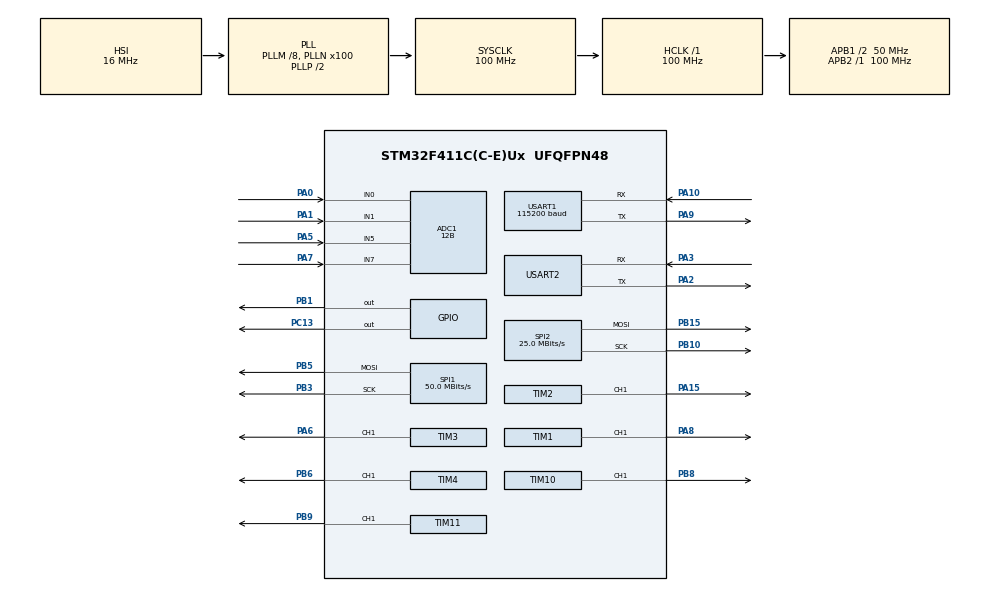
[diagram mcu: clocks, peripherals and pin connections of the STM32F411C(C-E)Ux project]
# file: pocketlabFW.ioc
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ADC1.Channel-0\#ChannelRegularConversion=ADC_CHANNEL_0
ADC1.Channel-1\#ChannelRegularConversion=ADC_CHANNEL_1
ADC1.Channel-2\#ChannelRegularConversion=ADC_CHANNEL_5
ADC1.Channel-3\#ChannelRegularConversion=ADC_CHANNEL_7
ADC1.ContinuousConvMode=DISABLE
ADC1.NbrOfConversion=4
ADC1.NbrOfConversionFlag=1
ADC1.Rank-0\#ChannelRegularConversion=1
ADC1.Rank-1\#ChannelRegularConversion=2
ADC1.Rank-2\#ChannelRegularConversion=3
ADC1.Rank-3\#ChannelRegularConversion=4
ADC1.Resolution=ADC_RESOLUTION_12B
ADC1.SamplingTime-0\#ChannelRegularConversion=ADC_SAMPLETIME_3CYCLES
ADC1.SamplingTime-1\#ChannelRegularConversion=ADC_SAMPLETIME_3CYCLES
ADC1.SamplingTime-2\#ChannelRegularConversion=ADC_SAMPLETIME_3CYCLES
ADC1.SamplingTime-3\#ChannelRegularConversion=ADC_SAMPLETIME_3CYCLES
ADC1.ScanConvMode=ENABLE
ADC1.master=1
Dma.Request0=USART1_RX
Dma.USART1_RX.0.Direction=DMA_PERIPH_TO_MEMORY
Dma.USART1_RX.0.FIFOMode=DMA_FIFOMODE_DISABLE
Dma.USART1_RX.0.Instance=DMA2_Stream2
Dma.USART1_RX.0.MemDataAlignment=DMA_MDATAALIGN_BYTE
Dma.USART1_RX.0.MemInc=DMA_MINC_ENABLE
Dma.USART1_RX.0.Mode=DMA_CIRCULAR
Dma.USART1_RX.0.PeriphDataAlignment=DMA_PDATAALIGN_BYTE
Dma.USART1_RX.0.PeriphInc=DMA_PINC_DISABLE
Dma.USART1_RX.0.Priority=DMA_PRIORITY_VERY_HIGH
Mcu.Family=STM32F4
Mcu.Name=STM32F411C(C-E)Ux
Mcu.Package=UFQFPN48
NVIC.DMA2_Stream2_IRQn=true\:12\:0\:true\:false\:true\:false\:true
NVIC.PriorityGroup=NVIC_PRIORITYGROUP_4
NVIC.USART1_IRQn=true\:0\:0\:false\:false\:true\:true\:true
PA0-WKUP.Signal=ADCx_IN0
PA1.Signal=ADCx_IN1
PA10.Mode=Asynchronous
PA10.Signal=USART1_RX
PA13.Mode=Serial_Wire
PA13.Signal=SYS_JTMS-SWDIO
PA14.Mode=Serial_Wire
PA14.Signal=SYS_JTCK-SWCLK
PA15.Signal=S_TIM2_CH1_ETR
PA2.Mode=Asynchronous
PA2.Signal=USART2_TX
PA3.Mode=Asynchronous
PA3.Signal=USART2_RX
PA5.Signal=ADCx_IN5
PA6.Signal=S_TIM3_CH1
PA7.Signal=ADCx_IN7
PA8.Signal=S_TIM1_CH1
PA9.Mode=Asynchronous
PA9.Signal=USART1_TX
PB1.PinState=GPIO_PIN_SET
PB1.Signal=GPIO_Output
PB10.Mode=TX_Only_Simplex_Unidirect_Master
PB10.Signal=SPI2_SCK
PB15.Mode=TX_Only_Simplex_Unidirect_Master
PB15.Signal=SPI2_MOSI
PB3.Mode=TX_Only_Simplex_Unidirect_Master
PB3.Signal=SPI1_SCK
PB5.Mode=TX_Only_Simplex_Unidirect_Master
PB5.Signal=SPI1_MOSI
PB6.Signal=S_TIM4_CH1
PB8.Signal=S_TIM10_CH1
PB9.Signal=S_TIM11_CH1
PC13-ANTI_TAMP.PinState=GPIO_PIN_SET
PC13-ANTI_TAMP.Signal=GPIO_Output
PH0\ -\ OSC_IN.Mode=HSE-External-Oscillator
PH0\ -\ OSC_IN.Signal=RCC_OSC_IN
PH1\ -\ OSC_OUT.Mode=HSE-External-Oscillator
PH1\ -\ OSC_OUT.Signal=RCC_OSC_OUT
ProjectManager.HeapSize=0x200
ProjectManager.StackSize=0x400
ProjectManager.TargetToolchain=STM32CubeIDE
RCC.48MHZClocksFreq_Value=50000000
RCC.AHBFreq_Value=100000000
RCC.APB1CLKDivider=RCC_HCLK_DIV2
RCC.APB1Freq_Value=50000000
RCC.APB1TimFreq_Value=100000000
RCC.APB2Freq_Value=100000000
RCC.APB2TimFreq_Value=100000000
RCC.CortexFreq_Value=100000000
RCC.HCLKFreq_Value=100000000
RCC.HSE_VALUE=25000000
RCC.HSI_VALUE=16000000
RCC.LSE_VALUE=32768
RCC.PLLM=8
RCC.PLLN=100
RCC.SYSCLKFreq_VALUE=100000000
RCC.SYSCLKSource=RCC_SYSCLKSOURCE_PLLCLK
RCC.VCOOutputFreq_Value=200000000
SH.ADCx_IN0.0=ADC1_IN0,IN0
SH.ADCx_IN1.0=ADC1_IN1,IN1
SH.ADCx_IN5.0=ADC1_IN5,IN5
SH.ADCx_IN7.0=ADC1_IN7,IN7
SH.S_TIM10_CH1.0=TIM10_CH1,PWM Generation1 CH1
SH.S_TIM11_CH1.0=TIM11_CH1,PWM Generation1 CH1
SH.S_TIM1_CH1.0=TIM1_CH1,PWM Generation1 CH1
SH.S_TIM2_CH1_ETR.0=TIM2_CH1,PWM Generation1 CH1
SH.S_TIM3_CH1.0=TIM3_CH1,PWM Generation1 CH1
SH.S_TIM4_CH1.0=TIM4_CH1,PWM Generation1 CH1
SPI1.CalculateBaudRate=50.0 MBits/s
SPI1.DataSize=SPI_DATASIZE_16BIT
SPI1.Direction=SPI_DIRECTION_2LINES
SPI1.Mode=SPI_MODE_MASTER
SPI1.VirtualType=VM_MASTER
SPI2.CalculateBaudRate=25.0 MBits/s
SPI2.DataSize=SPI_DATASIZE_16BIT
SPI2.Direction=SPI_DIRECTION_2LINES
SPI2.Mode=SPI_MODE_MASTER
SPI2.VirtualType=VM_MASTER
TIM1.Channel-PWM\ Generation1\ CH1=TIM_CHANNEL_1
TIM1.Period=100
TIM1.Prescaler=100
TIM1.Pulse-PWM\ Generation1\ CH1=50
TIM10.Channel=TIM_CHANNEL_1
TIM10.Period=100
TIM10.Prescaler=100
TIM10.Pulse=50
TIM11.Channel=TIM_CHANNEL_1
TIM11.Period=100
TIM11.Prescaler=100
TIM2.Channel-PWM\ Generation1\ CH1=TIM_CHANNEL_1
TIM2.Period=100
TIM2.Prescaler=25
TIM2.Pulse-PWM\ Generation1\ CH1=50
TIM3.Channel-PWM\ Generation1\ CH1=TIM_CHANNEL_1
TIM3.Period=100
TIM3.Prescaler=25
TIM3.Pulse-PWM\ Generation1\ CH1=50
TIM4.Channel-PWM\ Generation1\ CH1=TIM_CHANNEL_1
TIM4.Period=100
TIM4.Prescaler=50
USART1.BaudRate=115200
USART1.VirtualMode=VM_ASYNC
USART2.VirtualMode=VM_ASYNC
VP_CRC_VS_CRC.Mode=CRC_Activate
VP_TIM10_VS_ClockSourceINT.Mode=Enable_Timer
VP_TIM11_VS_ClockSourceINT.Mode=Enable_Timer
VP_TIM1_VS_ClockSourceINT.Mode=Internal
VP_TIM2_VS_ClockSourceINT.Mode=Internal
VP_TIM3_VS_ClockSourceINT.Mode=Internal
VP_TIM4_VS_ClockSourceINT.Mode=Internal
board=custom

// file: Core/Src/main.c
/* USER CODE BEGIN Header */
/**
  ******************************************************************************
  * @file           : main.c
  * @brief          : Main program body
  ******************************************************************************
  * @attention
  *
  * <h2><center>&copy; Copyright (c) 2021 STMicroelectronics.
  * All rights reserved.</center></h2>
  *
  * This software component is licensed by ST under BSD 3-Clause license,
  * the "License"; You may not use this file except in compliance with the
  * License. You may obtain a copy of the License at:
  *                        opensource.org/licenses/BSD-3-Clause
  *
  ******************************************************************************
  */
/* USER CODE END Header */
#include "main.h"

/* USER CODE BEGIN Includes */
#include "com.h"
#include "debugger.h"
#include "stdbool.h"
#include "device.h"
#include "string.h"
/* USER CODE END Includes */

ADC_HandleTypeDef hadc1;

CRC_HandleTypeDef hcrc;

SPI_HandleTypeDef hspi1;
SPI_HandleTypeDef hspi2;

TIM_HandleTypeDef htim1;
TIM_HandleTypeDef htim2;
TIM_HandleTypeDef htim3;
TIM_HandleTypeDef htim4;
TIM_HandleTypeDef htim10;
TIM_HandleTypeDef htim11;

UART_HandleTypeDef huart1;
UART_HandleTypeDef huart2;
DMA_HandleTypeDef hdma_usart1_rx;

/* USER CODE BEGIN PV */
char commandBuffer[20];
uint8_t commandState = FREE;
OscilloscopeTypedef oscilloscopeCh1_;
OscilloscopeTypedef oscilloscopeCh2_;
MultimeterTypedef multimeter_;
WaveGeneratorTypedef waveGenerator_;
PWMTypedef pwmGenerator_[5];
/* USER CODE END PV */

void SystemClock_Config(void);
static void MX_GPIO_Init(void);
static void MX_DMA_Init(void);
static void MX_USART1_UART_Init(void);
static void MX_USART2_UART_Init(void);
static void MX_CRC_Init(void);
static void MX_ADC1_Init(void);
static void MX_TIM1_Init(void);
static void MX_TIM2_Init(void);
static void MX_TIM3_Init(void);
static void MX_TIM4_Init(void);
static void MX_TIM10_Init(void);
static void MX_TIM11_Init(void);
static void MX_SPI1_Init(void);
static void MX_SPI2_Init(void);
/* USER CODE BEGIN PFP */
void initDevices(void);
/* USER CODE END PFP */

int main(void)
{

  /* MCU Configuration--------------------------------------------------------*/

  /* Reset of all peripherals, Initializes the Flash interface and the Systick. */
  HAL_Init();

  /* USER CODE BEGIN Init */
  initDevices();
  /* USER CODE END Init */

  /* Configure the system clock */
  SystemClock_Config();

  /* Initialize all configured peripherals */
  MX_GPIO_Init();
  MX_DMA_Init();
  MX_USART1_UART_Init();
  MX_USART2_UART_Init();
  MX_CRC_Init();
  MX_ADC1_Init();
  MX_TIM1_Init();
  MX_TIM2_Init();
  MX_TIM3_Init();
  MX_TIM4_Init();
  MX_TIM10_Init();
  MX_TIM11_Init();
  MX_SPI1_Init();
  MX_SPI2_Init();
  /* USER CODE BEGIN 2 */
  HAL_UART_Receive_DMA(&huart1, (uint8_t*)commandBuffer, 20);
  /* USER CODE END 2 */

  /* Infinite loop */
  /* USER CODE BEGIN WHILE */
  while (1)
  {
	if(commandState == WAITING) {
	  processCMD(commandBuffer);
	  commandState = FREE;
	} else if(commandState == FREE) {
	  runDevice(multimeter_, waveGenerator_, oscilloscopeCh1_, oscilloscopeCh2_, pwmGenerator_);
	}
    /* USER CODE END WHILE */

  }
}

void SystemClock_Config(void)
{
  RCC_OscInitTypeDef RCC_OscInitStruct = {0};
  RCC_ClkInitTypeDef RCC_ClkInitStruct = {0};

  /** Configure the main internal regulator output voltage
  */
  __HAL_RCC_PWR_CLK_ENABLE();
  __HAL_PWR_VOLTAGESCALING_CONFIG(PWR_REGULATOR_VOLTAGE_SCALE1);
  /** Initializes the RCC Oscillators according to the specified parameters
  * in the RCC_OscInitTypeDef structure.
  */
  RCC_OscInitStruct.OscillatorType = RCC_OSCILLATORTYPE_HSI;
  RCC_OscInitStruct.HSIState = RCC_HSI_ON;
  RCC_OscInitStruct.HSICalibrationValue = RCC_HSICALIBRATION_DEFAULT;
  RCC_OscInitStruct.PLL.PLLState = RCC_PLL_ON;
  RCC_OscInitStruct.PLL.PLLSource = RCC_PLLSOURCE_HSI;
  RCC_OscInitStruct.PLL.PLLM = 8;
  RCC_OscInitStruct.PLL.PLLN = 100;
  RCC_OscInitStruct.PLL.PLLP = RCC_PLLP_DIV2;
  RCC_OscInitStruct.PLL.PLLQ = 4;
  if (HAL_RCC_OscConfig(&RCC_OscInitStruct) != HAL_OK)
  {
    Error_Handler();
  }
  /** Initializes the CPU, AHB and APB buses clocks
  */
  RCC_ClkInitStruct.ClockType = RCC_CLOCKTYPE_HCLK|RCC_CLOCKTYPE_SYSCLK
                              |RCC_CLOCKTYPE_PCLK1|RCC_CLOCKTYPE_PCLK2;
  RCC_ClkInitStruct.SYSCLKSource = RCC_SYSCLKSOURCE_PLLCLK;
  RCC_ClkInitStruct.AHBCLKDivider = RCC_SYSCLK_DIV1;
  RCC_ClkInitStruct.APB1CLKDivider = RCC_HCLK_DIV2;
  RCC_ClkInitStruct.APB2CLKDivider = RCC_HCLK_DIV1;

  if (HAL_RCC_ClockConfig(&RCC_ClkInitStruct, FLASH_LATENCY_3) != HAL_OK)
  {
    Error_Handler();
  }
}

static void MX_ADC1_Init(void)
{

  ADC_ChannelConfTypeDef sConfig = {0};

  /** Configure the global features of the ADC (Clock, Resolution, Data Alignment and number of conversion)
  */
  hadc1.Instance = ADC1;
  hadc1.Init.ClockPrescaler = ADC_CLOCK_SYNC_PCLK_DIV4;
  hadc1.Init.Resolution = ADC_RESOLUTION_12B;
  hadc1.Init.ScanConvMode = ENABLE;
  hadc1.Init.ContinuousConvMode = DISABLE;
  hadc1.Init.DiscontinuousConvMode = DISABLE;
  hadc1.Init.ExternalTrigConvEdge = ADC_EXTERNALTRIGCONVEDGE_NONE;
  hadc1.Init.ExternalTrigConv = ADC_SOFTWARE_START;
  hadc1.Init.DataAlign = ADC_DATAALIGN_RIGHT;
  hadc1.Init.NbrOfConversion = 4;
  hadc1.Init.DMAContinuousRequests = DISABLE;
  hadc1.Init.EOCSelection = ADC_EOC_SINGLE_CONV;
  if (HAL_ADC_Init(&hadc1) != HAL_OK)
  {
    Error_Handler();
  }
  /** Configure for the selected ADC regular channel its corresponding rank in the sequencer and its sample time.
  */
  sConfig.Channel = ADC_CHANNEL_0;
  sConfig.Rank = 1;
  sConfig.SamplingTime = ADC_SAMPLETIME_3CYCLES;
  if (HAL_ADC_ConfigChannel(&hadc1, &sConfig) != HAL_OK)
  {
    Error_Handler();
  }
  /** Configure for the selected ADC regular channel its corresponding rank in the sequencer and its sample time.
  */
  sConfig.Channel = ADC_CHANNEL_1;
  sConfig.Rank = 2;
  if (HAL_ADC_ConfigChannel(&hadc1, &sConfig) != HAL_OK)
  {
    Error_Handler();
  }
  /** Configure for the selected ADC regular channel its corresponding rank in the sequencer and its sample time.
  */
  sConfig.Channel = ADC_CHANNEL_5;
  sConfig.Rank = 3;
  if (HAL_ADC_ConfigChannel(&hadc1, &sConfig) != HAL_OK)
  {
    Error_Handler();
  }
  /** Configure for the selected ADC regular channel its corresponding rank in the sequencer and its sample time.
  */
  sConfig.Channel = ADC_CHANNEL_7;
  sConfig.Rank = 4;
  if (HAL_ADC_ConfigChannel(&hadc1, &sConfig) != HAL_OK)
  {
    Error_Handler();
  }

}

static void MX_CRC_Init(void)
{

  hcrc.Instance = CRC;
  if (HAL_CRC_Init(&hcrc) != HAL_OK)
  {
    Error_Handler();
  }

}

static void MX_SPI1_Init(void)
{

  /* SPI1 parameter configuration*/
  hspi1.Instance = SPI1;
  hspi1.Init.Mode = SPI_MODE_MASTER;
  hspi1.Init.Direction = SPI_DIRECTION_2LINES;
  hspi1.Init.DataSize = SPI_DATASIZE_16BIT;
  hspi1.Init.CLKPolarity = SPI_POLARITY_LOW;
  hspi1.Init.CLKPhase = SPI_PHASE_1EDGE;
  hspi1.Init.NSS = SPI_NSS_SOFT;
  hspi1.Init.BaudRatePrescaler = SPI_BAUDRATEPRESCALER_2;
  hspi1.Init.FirstBit = SPI_FIRSTBIT_MSB;
  hspi1.Init.TIMode = SPI_TIMODE_DISABLE;
  hspi1.Init.CRCCalculation = SPI_CRCCALCULATION_DISABLE;
  hspi1.Init.CRCPolynomial = 10;
  if (HAL_SPI_Init(&hspi1) != HAL_OK)
  {
    Error_Handler();
  }

}

static void MX_SPI2_Init(void)
{

  /* SPI2 parameter configuration*/
  hspi2.Instance = SPI2;
  hspi2.Init.Mode = SPI_MODE_MASTER;
  hspi2.Init.Direction = SPI_DIRECTION_2LINES;
  hspi2.Init.DataSize = SPI_DATASIZE_16BIT;
  hspi2.Init.CLKPolarity = SPI_POLARITY_LOW;
  hspi2.Init.CLKPhase = SPI_PHASE_1EDGE;
  hspi2.Init.NSS = SPI_NSS_SOFT;
  hspi2.Init.BaudRatePrescaler = SPI_BAUDRATEPRESCALER_2;
  hspi2.Init.FirstBit = SPI_FIRSTBIT_MSB;
  hspi2.Init.TIMode = SPI_TIMODE_DISABLE;
  hspi2.Init.CRCCalculation = SPI_CRCCALCULATION_DISABLE;
  hspi2.Init.CRCPolynomial = 10;
  if (HAL_SPI_Init(&hspi2) != HAL_OK)
  {
    Error_Handler();
  }

}

static void MX_TIM1_Init(void)
{

  TIM_ClockConfigTypeDef sClockSourceConfig = {0};
  TIM_MasterConfigTypeDef sMasterConfig = {0};
  TIM_OC_InitTypeDef sConfigOC = {0};
  TIM_BreakDeadTimeConfigTypeDef sBreakDeadTimeConfig = {0};

  htim1.Instance = TIM1;
  htim1.Init.Prescaler = 100;
  htim1.Init.CounterMode = TIM_COUNTERMODE_UP;
  htim1.Init.Period = 100;
  htim1.Init.ClockDivision = TIM_CLOCKDIVISION_DIV1;
  htim1.Init.RepetitionCounter = 0;
  htim1.Init.AutoReloadPreload = TIM_AUTORELOAD_PRELOAD_DISABLE;
  if (HAL_TIM_Base_Init(&htim1) != HAL_OK)
  {
    Error_Handler();
  }
  sClockSourceConfig.ClockSource = TIM_CLOCKSOURCE_INTERNAL;
  if (HAL_TIM_ConfigClockSource(&htim1, &sClockSourceConfig) != HAL_OK)
  {
    Error_Handler();
  }
  if (HAL_TIM_PWM_Init(&htim1) != HAL_OK)
  {
    Error_Handler();
  }
  sMasterConfig.MasterOutputTrigger = TIM_TRGO_RESET;
  sMasterConfig.MasterSlaveMode = TIM_MASTERSLAVEMODE_DISABLE;
  if (HAL_TIMEx_MasterConfigSynchronization(&htim1, &sMasterConfig) != HAL_OK)
  {
    Error_Handler();
  }
  sConfigOC.OCMode = TIM_OCMODE_PWM1;
  sConfigOC.Pulse = 50;
  sConfigOC.OCPolarity = TIM_OCPOLARITY_HIGH;
  sConfigOC.OCNPolarity = TIM_OCNPOLARITY_HIGH;
  sConfigOC.OCFastMode = TIM_OCFAST_DISABLE;
  sConfigOC.OCIdleState = TIM_OCIDLESTATE_RESET;
  sConfigOC.OCNIdleState = TIM_OCNIDLESTATE_RESET;
  if (HAL_TIM_PWM_ConfigChannel(&htim1, &sConfigOC, TIM_CHANNEL_1) != HAL_OK)
  {
    Error_Handler();
  }
  sBreakDeadTimeConfig.OffStateRunMode = TIM_OSSR_DISABLE;
  sBreakDeadTimeConfig.OffStateIDLEMode = TIM_OSSI_DISABLE;
  sBreakDeadTimeConfig.LockLevel = TIM_LOCKLEVEL_OFF;
  sBreakDeadTimeConfig.DeadTime = 0;
  sBreakDeadTimeConfig.BreakState = TIM_BREAK_DISABLE;
  sBreakDeadTimeConfig.BreakPolarity = TIM_BREAKPOLARITY_HIGH;
  sBreakDeadTimeConfig.AutomaticOutput = TIM_AUTOMATICOUTPUT_DISABLE;
  if (HAL_TIMEx_ConfigBreakDeadTime(&htim1, &sBreakDeadTimeConfig) != HAL_OK)
  {
    Error_Handler();
  }
  HAL_TIM_MspPostInit(&htim1);

}

static void MX_TIM2_Init(void)
{

  TIM_ClockConfigTypeDef sClockSourceConfig = {0};
  TIM_MasterConfigTypeDef sMasterConfig = {0};
  TIM_OC_InitTypeDef sConfigOC = {0};

  htim2.Instance = TIM2;
  htim2.Init.Prescaler = 25;
  htim2.Init.CounterMode = TIM_COUNTERMODE_UP;
  htim2.Init.Period = 100;
  htim2.Init.ClockDivision = TIM_CLOCKDIVISION_DIV1;
  htim2.Init.AutoReloadPreload = TIM_AUTORELOAD_PRELOAD_DISABLE;
  if (HAL_TIM_Base_Init(&htim2) != HAL_OK)
  {
    Error_Handler();
  }
  sClockSourceConfig.ClockSource = TIM_CLOCKSOURCE_INTERNAL;
  if (HAL_TIM_ConfigClockSource(&htim2, &sClockSourceConfig) != HAL_OK)
  {
    Error_Handler();
  }
  if (HAL_TIM_PWM_Init(&htim2) != HAL_OK)
  {
    Error_Handler();
  }
  sMasterConfig.MasterOutputTrigger = TIM_TRGO_RESET;
  sMasterConfig.MasterSlaveMode = TIM_MASTERSLAVEMODE_DISABLE;
  if (HAL_TIMEx_MasterConfigSynchronization(&htim2, &sMasterConfig) != HAL_OK)
  {
    Error_Handler();
  }
  sConfigOC.OCMode = TIM_OCMODE_PWM1;
  sConfigOC.Pulse = 50;
  sConfigOC.OCPolarity = TIM_OCPOLARITY_HIGH;
  sConfigOC.OCFastMode = TIM_OCFAST_DISABLE;
  if (HAL_TIM_PWM_ConfigChannel(&htim2, &sConfigOC, TIM_CHANNEL_1) != HAL_OK)
  {
    Error_Handler();
  }
  HAL_TIM_MspPostInit(&htim2);

}

static void MX_TIM3_Init(void)
{

  TIM_ClockConfigTypeDef sClockSourceConfig = {0};
  TIM_MasterConfigTypeDef sMasterConfig = {0};
  TIM_OC_InitTypeDef sConfigOC = {0};

  htim3.Instance = TIM3;
  htim3.Init.Prescaler = 25;
  htim3.Init.CounterMode = TIM_COUNTERMODE_UP;
  htim3.Init.Period = 100;
  htim3.Init.ClockDivision = TIM_CLOCKDIVISION_DIV1;
  htim3.Init.AutoReloadPreload = TIM_AUTORELOAD_PRELOAD_DISABLE;
  if (HAL_TIM_Base_Init(&htim3) != HAL_OK)
  {
    Error_Handler();
  }
  sClockSourceConfig.ClockSource = TIM_CLOCKSOURCE_INTERNAL;
  if (HAL_TIM_ConfigClockSource(&htim3, &sClockSourceConfig) != HAL_OK)
  {
    Error_Handler();
  }
  if (HAL_TIM_PWM_Init(&htim3) != HAL_OK)
  {
    Error_Handler();
  }
  sMasterConfig.MasterOutputTrigger = TIM_TRGO_RESET;
  sMasterConfig.MasterSlaveMode = TIM_MASTERSLAVEMODE_DISABLE;
  if (HAL_TIMEx_MasterConfigSynchronization(&htim3, &sMasterConfig) != HAL_OK)
  {
    Error_Handler();
  }
  sConfigOC.OCMode = TIM_OCMODE_PWM1;
  sConfigOC.Pulse = 50;
  sConfigOC.OCPolarity = TIM_OCPOLARITY_HIGH;
  sConfigOC.OCFastMode = TIM_OCFAST_DISABLE;
  if (HAL_TIM_PWM_ConfigChannel(&htim3, &sConfigOC, TIM_CHANNEL_1) != HAL_OK)
  {
    Error_Handler();
  }
  HAL_TIM_MspPostInit(&htim3);

}

static void MX_TIM4_Init(void)
{

  TIM_ClockConfigTypeDef sClockSourceConfig = {0};
  TIM_MasterConfigTypeDef sMasterConfig = {0};
  TIM_OC_InitTypeDef sConfigOC = {0};

  htim4.Instance = TIM4;
  htim4.Init.Prescaler = 50;
  htim4.Init.CounterMode = TIM_COUNTERMODE_UP;
  htim4.Init.Period = 100;
  htim4.Init.ClockDivision = TIM_CLOCKDIVISION_DIV1;
  htim4.Init.AutoReloadPreload = TIM_AUTORELOAD_PRELOAD_DISABLE;
  if (HAL_TIM_Base_Init(&htim4) != HAL_OK)
  {
    Error_Handler();
  }
  sClockSourceConfig.ClockSource = TIM_CLOCKSOURCE_INTERNAL;
  if (HAL_TIM_ConfigClockSource(&htim4, &sClockSourceConfig) != HAL_OK)
  {
    Error_Handler();
  }
  if (HAL_TIM_PWM_Init(&htim4) != HAL_OK)
  {
    Error_Handler();
  }
  sMasterConfig.MasterOutputTrigger = TIM_TRGO_RESET;
  sMasterConfig.MasterSlaveMode = TIM_MASTERSLAVEMODE_DISABLE;
  if (HAL_TIMEx_MasterConfigSynchronization(&htim4, &sMasterConfig) != HAL_OK)
  {
    Error_Handler();
  }
  sConfigOC.OCMode = TIM_OCMODE_PWM1;
  sConfigOC.Pulse = 0;
  sConfigOC.OCPolarity = TIM_OCPOLARITY_HIGH;
  sConfigOC.OCFastMode = TIM_OCFAST_DISABLE;
  if (HAL_TIM_PWM_ConfigChannel(&htim4, &sConfigOC, TIM_CHANNEL_1) != HAL_OK)
  {
    Error_Handler();
  }
  HAL_TIM_MspPostInit(&htim4);

}

static void MX_TIM10_Init(void)
{

  TIM_OC_InitTypeDef sConfigOC = {0};

  htim10.Instance = TIM10;
  htim10.Init.Prescaler = 100;
  htim10.Init.CounterMode = TIM_COUNTERMODE_UP;
  htim10.Init.Period = 100;
  htim10.Init.ClockDivision = TIM_CLOCKDIVISION_DIV1;
  htim10.Init.AutoReloadPreload = TIM_AUTORELOAD_PRELOAD_DISABLE;
  if (HAL_TIM_Base_Init(&htim10) != HAL_OK)
  {
    Error_Handler();
  }
  if (HAL_TIM_PWM_Init(&htim10) != HAL_OK)
  {
    Error_Handler();
  }
  sConfigOC.OCMode = TIM_OCMODE_PWM1;
  sConfigOC.Pulse = 50;
  sConfigOC.OCPolarity = TIM_OCPOLARITY_HIGH;
  sConfigOC.OCFastMode = TIM_OCFAST_DISABLE;
  if (HAL_TIM_PWM_ConfigChannel(&htim10, &sConfigOC, TIM_CHANNEL_1) != HAL_OK)
  {
    Error_Handler();
  }
  HAL_TIM_MspPostInit(&htim10);

}

static void MX_TIM11_Init(void)
{

  TIM_OC_InitTypeDef sConfigOC = {0};

  htim11.Instance = TIM11;
  htim11.Init.Prescaler = 100;
  htim11.Init.CounterMode = TIM_COUNTERMODE_UP;
  htim11.Init.Period = 100;
  htim11.Init.ClockDivision = TIM_CLOCKDIVISION_DIV1;
  htim11.Init.AutoReloadPreload = TIM_AUTORELOAD_PRELOAD_DISABLE;
  if (HAL_TIM_Base_Init(&htim11) != HAL_OK)
  {
    Error_Handler();
  }
  if (HAL_TIM_PWM_Init(&htim11) != HAL_OK)
  {
    Error_Handler();
  }
  sConfigOC.OCMode = TIM_OCMODE_PWM1;
  sConfigOC.Pulse = 0;
  sConfigOC.OCPolarity = TIM_OCPOLARITY_HIGH;
  sConfigOC.OCFastMode = TIM_OCFAST_DISABLE;
  if (HAL_TIM_PWM_ConfigChannel(&htim11, &sConfigOC, TIM_CHANNEL_1) != HAL_OK)
  {
    Error_Handler();
  }
  HAL_TIM_MspPostInit(&htim11);

}

static void MX_USART1_UART_Init(void)
{

  huart1.Instance = USART1;
  huart1.Init.BaudRate = 115200;
  huart1.Init.WordLength = UART_WORDLENGTH_8B;
  huart1.Init.StopBits = UART_STOPBITS_1;
  huart1.Init.Parity = UART_PARITY_NONE;
  huart1.Init.Mode = UART_MODE_TX_RX;
  huart1.Init.HwFlowCtl = UART_HWCONTROL_NONE;
  huart1.Init.OverSampling = UART_OVERSAMPLING_16;
  if (HAL_UART_Init(&huart1) != HAL_OK)
  {
    Error_Handler();
  }
  /* USER CODE BEGIN USART1_Init 2 */
  //Enable receive interrupt
  __HAL_UART_ENABLE_IT(&huart1, UART_IT_RXNE);
  //------------------------
  /* USER CODE END USART1_Init 2 */

}

static void MX_USART2_UART_Init(void)
{

  huart2.Instance = USART2;
  huart2.Init.BaudRate = 115200;
  huart2.Init.WordLength = UART_WORDLENGTH_8B;
  huart2.Init.StopBits = UART_STOPBITS_1;
  huart2.Init.Parity = UART_PARITY_NONE;
  huart2.Init.Mode = UART_MODE_TX_RX;
  huart2.Init.HwFlowCtl = UART_HWCONTROL_NONE;
  huart2.Init.OverSampling = UART_OVERSAMPLING_16;
  if (HAL_UART_Init(&huart2) != HAL_OK)
  {
    Error_Handler();
  }

}

static void MX_DMA_Init(void)
{

  /* DMA controller clock enable */
  __HAL_RCC_DMA2_CLK_ENABLE();

  /* DMA interrupt init */
  /* DMA2_Stream2_IRQn interrupt configuration */
  HAL_NVIC_SetPriority(DMA2_Stream2_IRQn, 12, 0);
  HAL_NVIC_EnableIRQ(DMA2_Stream2_IRQn);

}

static void MX_GPIO_Init(void)
{
  GPIO_InitTypeDef GPIO_InitStruct = {0};

  /* GPIO Ports Clock Enable */
  __HAL_RCC_GPIOC_CLK_ENABLE();
  __HAL_RCC_GPIOH_CLK_ENABLE();
  __HAL_RCC_GPIOA_CLK_ENABLE();
  __HAL_RCC_GPIOB_CLK_ENABLE();

  /*Configure GPIO pin Output Level */
  HAL_GPIO_WritePin(GPIOC, GPIO_PIN_13, GPIO_PIN_SET);

  /*Configure GPIO pin Output Level */
  HAL_GPIO_WritePin(GPIOB, GPIO_PIN_1, GPIO_PIN_SET);

  /*Configure GPIO pin : PC13 */
  GPIO_InitStruct.Pin = GPIO_PIN_13;
  GPIO_InitStruct.Mode = GPIO_MODE_OUTPUT_PP;
  GPIO_InitStruct.Pull = GPIO_NOPULL;
  GPIO_InitStruct.Speed = GPIO_SPEED_FREQ_LOW;
  HAL_GPIO_Init(GPIOC, &GPIO_InitStruct);

  /*Configure GPIO pin : PB1 */
  GPIO_InitStruct.Pin = GPIO_PIN_1;
  GPIO_InitStruct.Mode = GPIO_MODE_OUTPUT_PP;
  GPIO_InitStruct.Pull = GPIO_NOPULL;
  GPIO_InitStruct.Speed = GPIO_SPEED_FREQ_LOW;
  HAL_GPIO_Init(GPIOB, &GPIO_InitStruct);

}

/* USER CODE BEGIN 4 */

void HAL_UART_RxCpltCallback(UART_HandleTypeDef *huart) {
	commandState = WAITING;
}

void initDevices(void) {
	multimeter_.source_ = 1;
	multimeter_.state_ = STATE_OFF;

	waveGenerator_.phase_ = 0;
	waveGenerator_.period_ = 0;
	waveGenerator_.source_ = 1;
	waveGenerator_.state = STATE_OFF;
	waveGenerator_.wave_ = SINE;
	waveGenerator_.isWaiting_ = false;

	oscilloscopeCh1_.state_ = STATE_OFF;

	oscilloscopeCh2_.state_ = STATE_OFF;

	for(int iter = 0; iter < 5; iter++) {
		pwmGenerator_[iter].dutyCycle_ = 0;
		pwmGenerator_[iter].state_ = STATE_OFF;
	}

	commandState = FREE;
}

/* USER CODE END 4 */

void Error_Handler(void)
{
  __disable_irq();
  while (1)
  {
  }
}

/************************ (C) COPYRIGHT STMicroelectronics *****END OF FILE****/
